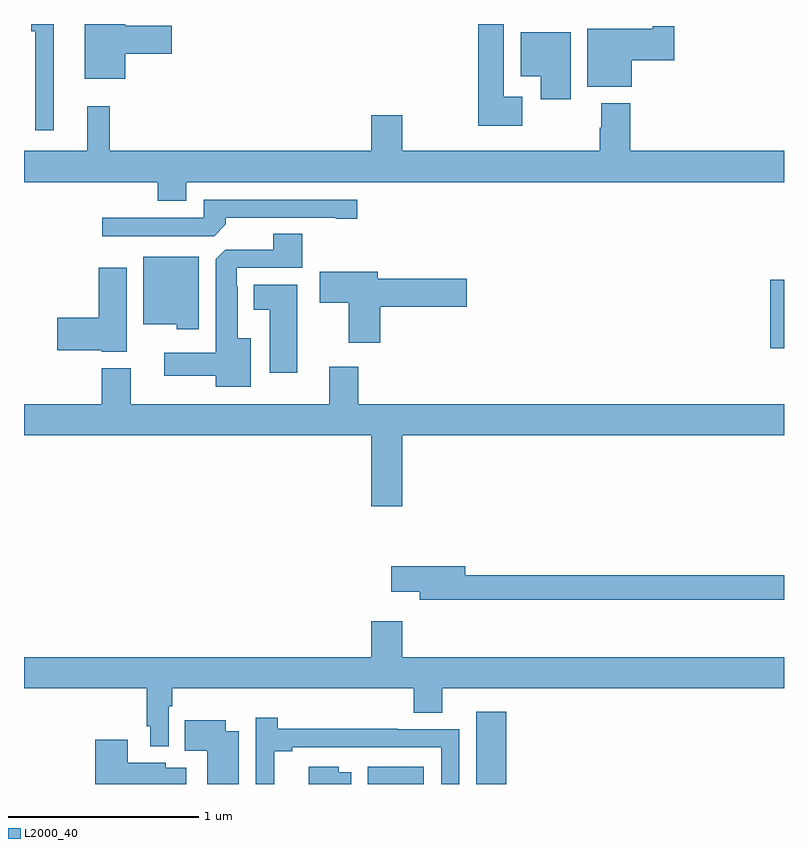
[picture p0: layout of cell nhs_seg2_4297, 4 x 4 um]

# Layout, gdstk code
import gdstk
lib = gdstk.Library(unit=1e-6, precision=1e-09)
def R(c, l, rs):  # rectangles x0, y0, x1, y1
    for r in rs: c.add(gdstk.rectangle(r[:2], r[2:], *l))
def P(c, l, *ps):  # polygons
    for p in ps: c.add(gdstk.Polygon(p, *l))
L2000_40 = (2000, 40)

nhs_seg2_4297 = lib.new_cell('nhs_seg2_4297')
R(nhs_seg2_4297, L2000_40, [(344.81,645.8,345.103,645.892), (345.38,645.8,345.539,646.18), (346.928,648.094,347,648.454)])
P(nhs_seg2_4297, L2000_40, [(343.156,649.8),(343.039,649.8),(343.039,649.763),(343.059,649.763),(343.059,649.242),(343.156,649.242)],
  [(345.622,649.417),(345.526,649.417),(345.526,649.8),(345.392,649.8),(345.392,649.265),(345.622,649.265)],
  [(343.534,649.643),(343.777,649.643),(343.777,649.79),(343.534,649.79),(343.534,649.8),(343.319,649.8),(343.319,649.511),(343.534,649.511)],
  [(346.198,649.609),(346.423,649.609),(346.423,649.787),(346.31,649.787),(346.31,649.774),(345.965,649.774),(345.965,649.469),(346.198,649.469)],
  [(345.877,649.756),(345.614,649.756),(345.614,649.526),(345.719,649.526),(345.719,649.404),(345.877,649.404)],
  [(343.855,648.968),(347,648.968),(347,649.132),(346.19,649.132),(346.19,649.384),(346.037,649.384),(346.037,649.253),(346.03,649.253),(346.03,649.132),(344.992,649.132),(344.992,649.321),(344.828,649.321),(344.828,649.132),(343.451,649.132),(343.451,649.366),(343.334,649.366),(343.334,649.132),(343,649.132),(343,648.968),(343.703,648.968),(343.703,648.869),(343.855,648.869)],
  [(344.063,648.746),(344.063,648.78),(344.642,648.78),(344.642,648.775),(344.755,648.775),(344.755,648.876),(343.947,648.876),(343.947,648.78),(343.413,648.78),(343.413,648.684),(344.001,648.684)],
  [(344.194,648.145),(344.125,648.145),(344.125,648.419),(344.121,648.419),(344.121,648.516),(344.465,648.516),(344.465,648.695),(344.312,648.695),(344.312,648.612),(344.058,648.612),(344.009,648.563),(344.009,648.07),(343.737,648.07),(343.737,647.948),(344.009,647.948),(344.009,647.891),(344.194,647.891)],
  [(343.921,648.574),(343.628,648.574),(343.628,648.221),(343.803,648.221),(343.803,648.194),(343.921,648.194)],
  [(343.54,648.517),(343.394,648.517),(343.394,648.254),(343.176,648.254),(343.176,648.083),(343.41,648.083),(343.41,648.074),(343.54,648.074)],
  [(344.876,648.311),(345.331,648.311),(345.331,648.458),(344.863,648.458),(344.863,648.496),(344.556,648.496),(344.556,648.334),(344.708,648.334),(344.708,648.123),(344.876,648.123)],
  [(344.437,648.427),(344.21,648.427),(344.21,648.296),(344.294,648.296),(344.294,647.964),(344.437,647.964)],
  [(344.992,647.636),(347,647.636),(347,647.8),(344.759,647.8),(344.759,647.995),(344.606,647.995),(344.606,647.8),(343.561,647.8),(343.561,647.989),(343.409,647.989),(343.409,647.8),(343,647.8),(343,647.636),(344.828,647.636),(344.828,647.262),(344.992,647.262)],
  [(347,646.898),(345.322,646.898),(345.322,646.946),(344.934,646.946),(344.934,646.811),(345.083,646.811),(345.083,646.77),(347,646.77)],
  [(343.761,646.208),(343.781,646.208),(343.781,646.304),(345.05,646.304),(345.05,646.174),(345.202,646.174),(345.202,646.304),(347,646.304),(347,646.468),(344.992,646.468),(344.992,646.657),(344.828,646.657),(344.828,646.468),(343,646.468),(343,646.304),(343.645,646.304),(343.645,646.105),(343.665,646.105),(343.665,645.998),(343.761,645.998)],
  [(344.318,645.973),(344.413,645.973),(344.413,645.993),(345.195,645.993),(345.195,645.8),(345.291,645.8),(345.291,646.089),(344.966,646.089),(344.966,646.091),(344.336,646.091),(344.336,646.15),(344.22,646.15),(344.22,645.8),(344.318,645.8)],
  [(344.131,646.078),(344.062,646.078),(344.062,646.135),(343.846,646.135),(343.846,645.974),(343.964,645.974),(343.964,645.8),(344.131,645.8)],
  [(343.855,645.886),(343.746,645.886),(343.746,645.913),(343.546,645.913),(343.546,646.033),(343.376,646.033),(343.376,645.8),(343.855,645.8)],
  [(344.722,645.862),(344.656,645.862),(344.656,645.892),(344.498,645.892),(344.498,645.8),(344.722,645.8)])

lib.write_gds('nhs_seg2_4297.gds')
